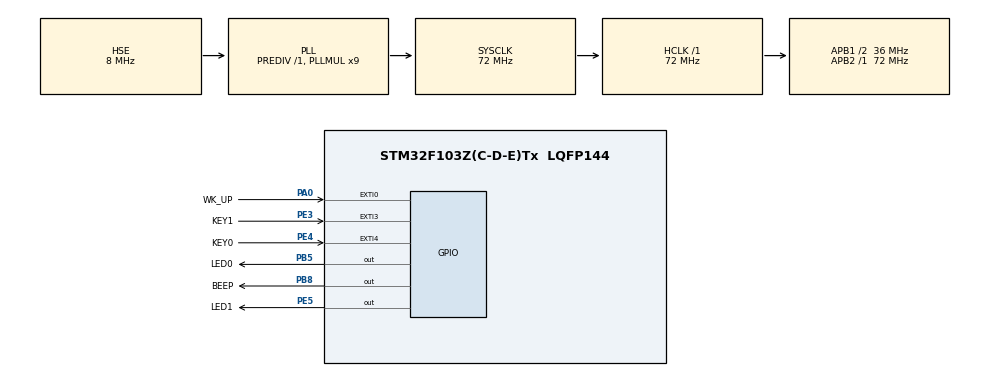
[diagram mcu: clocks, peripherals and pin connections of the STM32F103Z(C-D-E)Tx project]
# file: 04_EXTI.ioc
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Mcu.Family=STM32F1
Mcu.Name=STM32F103Z(C-D-E)Tx
Mcu.Package=LQFP144
NVIC.EXTI0_IRQn=true\:2\:0\:true\:false\:true\:true\:true\:true
NVIC.EXTI3_IRQn=true\:2\:0\:true\:false\:true\:true\:true\:true
NVIC.EXTI4_IRQn=true\:2\:0\:true\:false\:true\:true\:true\:true
NVIC.PriorityGroup=NVIC_PRIORITYGROUP_4
OSC_IN.Mode=HSE-External-Oscillator
OSC_IN.Signal=RCC_OSC_IN
OSC_OUT.Mode=HSE-External-Oscillator
OSC_OUT.Signal=RCC_OSC_OUT
PA0-WKUP.GPIO_Label=WK_UP
PA0-WKUP.GPIO_ModeDefaultEXTI=GPIO_MODE_IT_RISING
PA0-WKUP.GPIO_PuPd=GPIO_PULLDOWN
PA0-WKUP.Signal=GPXTI0
PA13.Mode=Serial_Wire
PA13.Signal=SYS_JTMS-SWDIO
PA14.Mode=Serial_Wire
PA14.Signal=SYS_JTCK-SWCLK
PB5.GPIO_Label=LED0
PB5.GPIO_PuPd=GPIO_PULLUP
PB5.PinState=GPIO_PIN_SET
PB5.Signal=GPIO_Output
PB8.GPIO_Label=BEEP
PB8.GPIO_PuPd=GPIO_PULLDOWN
PB8.PinState=GPIO_PIN_RESET
PB8.Signal=GPIO_Output
PC14-OSC32_IN.Mode=LSE-External-Oscillator
PC14-OSC32_IN.Signal=RCC_OSC32_IN
PC15-OSC32_OUT.Mode=LSE-External-Oscillator
PC15-OSC32_OUT.Signal=RCC_OSC32_OUT
PE3.GPIO_Label=KEY1
PE3.GPIO_ModeDefaultEXTI=GPIO_MODE_IT_FALLING
PE3.GPIO_PuPd=GPIO_PULLUP
PE3.Signal=GPXTI3
PE4.GPIO_Label=KEY0
PE4.GPIO_ModeDefaultEXTI=GPIO_MODE_IT_FALLING
PE4.GPIO_PuPd=GPIO_PULLUP
PE4.Signal=GPXTI4
PE5.GPIO_Label=LED1
PE5.GPIO_PuPd=GPIO_PULLUP
PE5.PinState=GPIO_PIN_SET
PE5.Signal=GPIO_Output
ProjectManager.HeapSize=0x200
ProjectManager.StackSize=0x400
ProjectManager.TargetToolchain=STM32CubeIDE
RCC.AHBFreq_Value=72000000
RCC.APB1CLKDivider=RCC_HCLK_DIV2
RCC.APB1Freq_Value=36000000
RCC.APB1TimFreq_Value=72000000
RCC.APB2Freq_Value=72000000
RCC.APB2TimFreq_Value=72000000
RCC.HCLKFreq_Value=72000000
RCC.PLLMUL=RCC_PLL_MUL9
RCC.PLLSourceVirtual=RCC_PLLSOURCE_HSE
RCC.SYSCLKFreq_VALUE=72000000
RCC.SYSCLKSource=RCC_SYSCLKSOURCE_PLLCLK
RCC.USBFreq_Value=72000000
board=custom

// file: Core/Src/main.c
/* USER CODE BEGIN Header */
/**
  ******************************************************************************
  * @file           : main.c
  * @brief          : Main program body
  ******************************************************************************
  * @attention
  *
  * Copyright (c) 2023 STMicroelectronics.
  * All rights reserved.
  *
  * This software is licensed under terms that can be found in the LICENSE file
  * in the root directory of this software component.
  * If no LICENSE file comes with this software, it is provided AS-IS.
  *
  ******************************************************************************
  */
/* USER CODE END Header */
#include "main.h"
#include "gpio.h"

/* USER CODE BEGIN Includes */
#include "../../BSP/LED/led.h"
#include "../../BSP/BEEP/beep.h"
#include "../../BSP/KEY/key.h"
/* USER CODE END Includes */

void SystemClock_Config(void);

/* USER CODE BEGIN 0 */
void HAL_GPIO_EXTI_Callback(uint16_t GPIO_Pin)
{
	HAL_Delay(10);
	switch(GPIO_Pin)
	{
		case WK_UP_Pin :
			if(WK_UP == GPIO_PIN_SET)
			{
				BEEP_TOGGLE();
				break;
			}
		case KEY0_Pin  :
			if(KEY0 == GPIO_PIN_RESET)
			{
				LED0_TOGGLE();
				break;
			}
		case KEY1_Pin  :
			if(KEY1 == GPIO_PIN_RESET)
			{
				LED1_TOGGLE();
				break;
			}
	}
}
/* USER CODE END 0 */

int main(void)
{

  /* MCU Configuration--------------------------------------------------------*/

  /* Reset of all peripherals, Initializes the Flash interface and the Systick. */
  HAL_Init();

  /* Configure the system clock */
  SystemClock_Config();

  /* Initialize all configured peripherals */
  MX_GPIO_Init();

  /* Infinite loop */
  /* USER CODE BEGIN WHILE */
  while (1)
  {
	  HAL_Delay(1000);
	  /* 其他操作 */
    /* USER CODE END WHILE */

  }
}

void SystemClock_Config(void)
{
  RCC_OscInitTypeDef RCC_OscInitStruct = {0};
  RCC_ClkInitTypeDef RCC_ClkInitStruct = {0};

  /** Initializes the RCC Oscillators according to the specified parameters
  * in the RCC_OscInitTypeDef structure.
  */
  RCC_OscInitStruct.OscillatorType = RCC_OSCILLATORTYPE_HSE;
  RCC_OscInitStruct.HSEState = RCC_HSE_ON;
  RCC_OscInitStruct.HSEPredivValue = RCC_HSE_PREDIV_DIV1;
  RCC_OscInitStruct.HSIState = RCC_HSI_ON;
  RCC_OscInitStruct.PLL.PLLState = RCC_PLL_ON;
  RCC_OscInitStruct.PLL.PLLSource = RCC_PLLSOURCE_HSE;
  RCC_OscInitStruct.PLL.PLLMUL = RCC_PLL_MUL9;
  if (HAL_RCC_OscConfig(&RCC_OscInitStruct) != HAL_OK)
  {
    Error_Handler();
  }

  /** Initializes the CPU, AHB and APB buses clocks
  */
  RCC_ClkInitStruct.ClockType = RCC_CLOCKTYPE_HCLK|RCC_CLOCKTYPE_SYSCLK
                              |RCC_CLOCKTYPE_PCLK1|RCC_CLOCKTYPE_PCLK2;
  RCC_ClkInitStruct.SYSCLKSource = RCC_SYSCLKSOURCE_PLLCLK;
  RCC_ClkInitStruct.AHBCLKDivider = RCC_SYSCLK_DIV1;
  RCC_ClkInitStruct.APB1CLKDivider = RCC_HCLK_DIV2;
  RCC_ClkInitStruct.APB2CLKDivider = RCC_HCLK_DIV1;

  if (HAL_RCC_ClockConfig(&RCC_ClkInitStruct, FLASH_LATENCY_2) != HAL_OK)
  {
    Error_Handler();
  }
}

void Error_Handler(void)
{
  __disable_irq();
  while (1)
  {
  }
}
